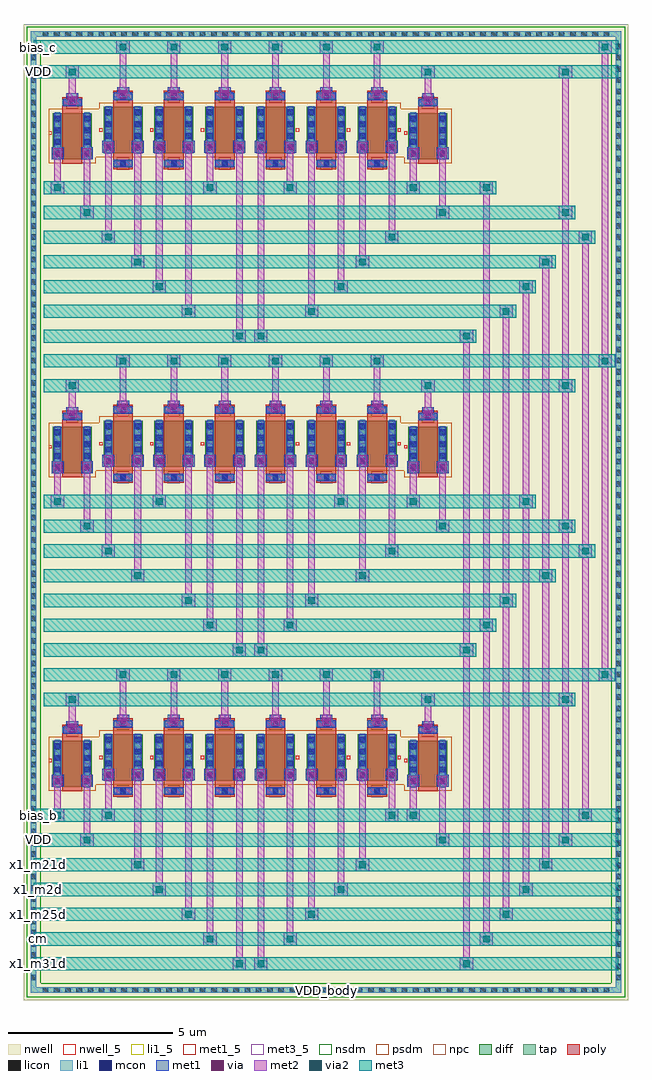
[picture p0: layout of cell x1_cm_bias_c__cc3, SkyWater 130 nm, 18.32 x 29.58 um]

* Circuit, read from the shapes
.subckt x1_cm_bias_c__cc3 VDD VDD_body bias_b bias_c cm x1_m21d x1_m25d x1_m2d x1_m31d
XM1 VDD VDD bias_b VDD_body sky130_fd_pr__pfet_01v8 w=1.4 l=0.6 m=2
XM2 VDD VDD x1_m2d VDD_body sky130_fd_pr__pfet_01v8 w=1.4 l=0.6 m=2
XM3 VDD VDD cm VDD_body sky130_fd_pr__pfet_01v8 w=1.4 l=0.6 m=2
XM4 x1_m21d bias_c bias_b VDD_body sky130_fd_pr__pfet_01v8 w=1.4 l=0.6 m=6
XM5 x1_m25d bias_c x1_m2d VDD_body sky130_fd_pr__pfet_01v8 w=1.4 l=0.6 m=6
XM6 x1_m31d bias_c cm VDD_body sky130_fd_pr__pfet_01v8 w=1.4 l=0.6 m=6
.ends

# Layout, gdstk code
from math import pi, radians
import gdstk
lib = gdstk.Library(unit=1e-6, precision=1e-09)
def R(c, l, rs):  # rectangles x0, y0, x1, y1
    for r in rs: c.add(gdstk.rectangle(r[:2], r[2:], *l))
def A(c, l, x, y, w, h, nx, ny, dx, dy):  # array of equal rectangles
    R(c, l, [(x+i*dx, y+j*dy, x+i*dx+w, y+j*dy+h) for i in range(nx) for j in range(ny)])
nwell_5 = (64, 5)
nwell = (64, 20)
diff = (65, 20)
tap = (65, 44)
poly = (66, 20)
licon = (66, 44)
li1_5 = (67, 5)
li1 = (67, 20)
mcon = (67, 44)
met1_5 = (68, 5)
met1 = (68, 20)
via = (68, 44)
met2 = (69, 20)
via2 = (69, 44)
met3_5 = (70, 5)
met3 = (70, 20)
nsdm = (93, 44)
psdm = (94, 20)
npc = (95, 20)

sky130_fd_pr__pfet_01v8_ = lib.new_cell('sky130_fd_pr__pfet_01v8_7A4LUF')
R(sky130_fd_pr__pfet_01v8_, nwell, [(-0.77,-1.19,0.77,1.02)])
R(sky130_fd_pr__pfet_01v8_, diff, [(-0.59,-0.88,0.59,0.52)])
R(sky130_fd_pr__pfet_01v8_, poly, [(-0.3,-1.01,0.3,1.005)])
A(sky130_fd_pr__pfet_01v8_, licon, -0.53, -0.775, 0.17, 0.17, 1, 4, 0, 0.34)
A(sky130_fd_pr__pfet_01v8_, licon, 0.36, -0.775, 0.17, 0.17, 1, 4, 0, 0.34)
R(sky130_fd_pr__pfet_01v8_, licon, [(-0.085,0.755,0.085,0.925)])
R(sky130_fd_pr__pfet_01v8_, li1, [(-0.53,-0.9,-0.36,0.54), (0.36,-0.9,0.53,0.54), (-0.3,0.755,0.3,0.925)])
A(sky130_fd_pr__pfet_01v8_, mcon, -0.53, -0.805, 0.17, 0.17, 1, 4, 0, 0.36)
A(sky130_fd_pr__pfet_01v8_, mcon, 0.36, -0.805, 0.17, 0.17, 1, 4, 0, 0.36)
R(sky130_fd_pr__pfet_01v8_, mcon, [(-0.085,0.755,0.085,0.925)])
R(sky130_fd_pr__pfet_01v8_, met1, [(-0.56,-0.88,-0.33,0.52), (0.33,-0.88,0.56,0.52), (-0.28,0.725,0.28,0.955)])
R(sky130_fd_pr__pfet_01v8_, psdm, [(-0.715,-1.005,0.715,0.645)])
R(sky130_fd_pr__pfet_01v8_, npc, [(-0.185,0.655,0.185,1.025)])
sky130_fd_pr__pfet_01v8_.add(gdstk.Label('D', (-0.445,-0.18), layer=67, texttype=5))
sky130_fd_pr__pfet_01v8_.add(gdstk.Label('S', (0.445,-0.18), layer=67, texttype=5))
sky130_fd_pr__pfet_01v8_.add(gdstk.Label('G', (0,0.84), layer=67, texttype=5))

pfet_01v8_w1p4_l0p6_m2__ = lib.new_cell('pfet_01v8_W1p4_L0p6_m2__nf1_gtop_sdfull_ng')
R(pfet_01v8_w1p4_l0p6_m2__, nwell_5, [(0.05,1.055,0.15,1.155)])
R(pfet_01v8_w1p4_l0p6_m2__, nwell, [(0.05,1.055,0.15,1.155)])
R(pfet_01v8_w1p4_l0p6_m2__, met1_5, [(0.21,1.01,0.44,1.21), (1.1,1.01,1.33,1.21), (0.49,1.915,1.05,2.145)])
R(pfet_01v8_w1p4_l0p6_m2__, met1, [(0.21,1.01,0.44,1.21), (1.1,1.01,1.33,1.21), (0.49,1.915,1.05,2.145)])
pfet_01v8_w1p4_l0p6_m2__.add(gdstk.Reference(sky130_fd_pr__pfet_01v8_, (0.77,1.19)))
pfet_01v8_w1p4_l0p6_m2__.add(gdstk.Label('D', (0.325,1.11), layer=68, texttype=5))
pfet_01v8_w1p4_l0p6_m2__.add(gdstk.Label('S', (1.215,1.11), layer=68, texttype=5))
pfet_01v8_w1p4_l0p6_m2__.add(gdstk.Label('G', (0.77,2.03), layer=68, texttype=5))
pfet_01v8_w1p4_l0p6_m2__.add(gdstk.Label('B', (0.1,1.105), layer=64, texttype=5))

c_sky130_fd_pr__pfet_01v8_ = lib.new_cell('sky130_fd_pr__pfet_01v8_RGDEC8')
R(c_sky130_fd_pr__pfet_01v8_, nwell, [(-0.77,-1.2,0.77,1.2)])
R(c_sky130_fd_pr__pfet_01v8_, diff, [(-0.59,-0.7,0.59,0.7)])
R(c_sky130_fd_pr__pfet_01v8_, poly, [(-0.3,-1.185,0.3,1.185)])
A(c_sky130_fd_pr__pfet_01v8_, licon, -0.53, -0.595, 0.17, 0.17, 1, 4, 0, 0.34)
A(c_sky130_fd_pr__pfet_01v8_, licon, 0.36, -0.595, 0.17, 0.17, 1, 4, 0, 0.34)
R(c_sky130_fd_pr__pfet_01v8_, licon, [(-0.085,-1.105,0.085,-0.935), (-0.085,0.935,0.085,1.105)])
R(c_sky130_fd_pr__pfet_01v8_, li1, [(-0.3,-1.105,0.3,-0.935), (-0.53,-0.72,-0.36,0.72), (0.36,-0.72,0.53,0.72), (-0.3,0.935,0.3,1.105)])
A(c_sky130_fd_pr__pfet_01v8_, mcon, -0.53, -0.625, 0.17, 0.17, 1, 4, 0, 0.36)
A(c_sky130_fd_pr__pfet_01v8_, mcon, 0.36, -0.625, 0.17, 0.17, 1, 4, 0, 0.36)
R(c_sky130_fd_pr__pfet_01v8_, mcon, [(-0.085,-1.105,0.085,-0.935), (-0.085,0.935,0.085,1.105)])
R(c_sky130_fd_pr__pfet_01v8_, met1, [(-0.28,-1.135,0.28,-0.905), (-0.56,-0.7,-0.33,0.7), (0.33,-0.7,0.56,0.7), (-0.28,0.905,0.28,1.135)])
R(c_sky130_fd_pr__pfet_01v8_, psdm, [(-0.715,-0.825,0.715,0.825)])
R(c_sky130_fd_pr__pfet_01v8_, npc, [(-0.185,-1.205,0.185,-0.835), (-0.185,0.835,0.185,1.205)])
c_sky130_fd_pr__pfet_01v8_.add(gdstk.Label('D', (-0.445,0), layer=67, texttype=5))
c_sky130_fd_pr__pfet_01v8_.add(gdstk.Label('S', (0.445,0), layer=67, texttype=5))
c_sky130_fd_pr__pfet_01v8_.add(gdstk.Label('G', (0,1.02), layer=67, texttype=5))

pfet_01v8_w1p4_l0p6_m6__ = lib.new_cell('pfet_01v8_W1p4_L0p6_m6__nf1_gboth_sdfull_ng')
R(pfet_01v8_w1p4_l0p6_m6__, nwell_5, [(0.05,1.15,0.15,1.25)])
R(pfet_01v8_w1p4_l0p6_m6__, nwell, [(0.05,1.15,0.15,1.25)])
R(pfet_01v8_w1p4_l0p6_m6__, met1_5, [(0.21,1.2,0.44,1.4), (1.1,1.2,1.33,1.4), (0.49,2.105,1.05,2.335)])
R(pfet_01v8_w1p4_l0p6_m6__, met1, [(0.21,1.2,0.44,1.4), (1.1,1.2,1.33,1.4), (0.49,2.105,1.05,2.335)])
pfet_01v8_w1p4_l0p6_m6__.add(gdstk.Reference(c_sky130_fd_pr__pfet_01v8_, (0.77,1.2)))
pfet_01v8_w1p4_l0p6_m6__.add(gdstk.Label('D', (0.325,1.3), layer=68, texttype=5))
pfet_01v8_w1p4_l0p6_m6__.add(gdstk.Label('S', (1.215,1.3), layer=68, texttype=5))
pfet_01v8_w1p4_l0p6_m6__.add(gdstk.Label('G', (0.77,2.22), layer=68, texttype=5))
pfet_01v8_w1p4_l0p6_m6__.add(gdstk.Label('B', (0.1,1.2), layer=64, texttype=5))

x1_cm_bias_c__cc3 = lib.new_cell('x1_cm_bias_c__cc3')
R(x1_cm_bias_c__cc3, nwell, [(-0.7,-6.15,17.62,23.43)])
R(x1_cm_bias_c__cc3, tap, [(-0.485,-5.935,17.405,-5.765), (-0.485,-5.765,-0.315,23.045), (17.235,-5.765,17.405,23.045), (-0.485,23.045,17.405,23.215)])
A(x1_cm_bias_c__cc3, licon, -0.125, -5.935, 0.17, 0.17, 51, 2, 0.34, 28.98)
A(x1_cm_bias_c__cc3, licon, -0.485, -5.555, 0.17, 0.17, 1, 84, 0, 0.34)
A(x1_cm_bias_c__cc3, licon, 17.235, -5.555, 0.17, 0.17, 1, 84, 0, 0.34)
R(x1_cm_bias_c__cc3, li1_5, [(8.41,-5.9,8.51,-5.8)])
R(x1_cm_bias_c__cc3, li1, [(-0.485,-5.935,17.405,-5.765), (-0.485,-5.765,-0.315,23.045), (17.235,-5.765,17.405,23.045), (-0.485,23.045,17.405,23.215)])
A(x1_cm_bias_c__cc3, met1, 0.145, 0.31, 0.36, 0.36, 1, 3, 0, 9.51)
A(x1_cm_bias_c__cc3, met1, 1.035, 0.31, 0.36, 0.36, 1, 3, 0, 9.51)
A(x1_cm_bias_c__cc3, met1, 10.925, 0.31, 0.36, 0.36, 1, 3, 0, 9.51)
A(x1_cm_bias_c__cc3, met1, 11.815, 0.31, 0.36, 0.36, 1, 3, 0, 9.51)
A(x1_cm_bias_c__cc3, met1, 1.685, 0.505, 0.36, 0.36, 1, 3, 0, 9.51)
A(x1_cm_bias_c__cc3, met1, 2.575, 0.505, 0.36, 0.36, 1, 3, 0, 9.51)
A(x1_cm_bias_c__cc3, met1, 3.225, 0.505, 0.36, 0.36, 1, 3, 0, 9.51)
A(x1_cm_bias_c__cc3, met1, 4.115, 0.505, 0.36, 0.36, 1, 3, 0, 9.51)
A(x1_cm_bias_c__cc3, met1, 4.765, 0.505, 0.36, 0.36, 1, 3, 0, 9.51)
A(x1_cm_bias_c__cc3, met1, 5.655, 0.505, 0.36, 0.36, 1, 3, 0, 9.51)
A(x1_cm_bias_c__cc3, met1, 6.305, 0.505, 0.36, 0.36, 1, 3, 0, 9.51)
A(x1_cm_bias_c__cc3, met1, 7.195, 0.505, 0.36, 0.36, 1, 3, 0, 9.51)
A(x1_cm_bias_c__cc3, met1, 7.845, 0.505, 0.36, 0.36, 1, 3, 0, 9.51)
A(x1_cm_bias_c__cc3, met1, 8.735, 0.505, 0.36, 0.36, 1, 3, 0, 9.51)
A(x1_cm_bias_c__cc3, met1, 9.385, 0.505, 0.36, 0.36, 1, 3, 0, 9.51)
A(x1_cm_bias_c__cc3, met1, 10.275, 0.505, 0.36, 0.36, 1, 3, 0, 9.51)
A(x1_cm_bias_c__cc3, met1, 0.59, 1.945, 0.36, 0.36, 1, 3, 0, 9.51)
A(x1_cm_bias_c__cc3, met1, 11.37, 1.945, 0.36, 0.36, 1, 3, 0, 9.51)
A(x1_cm_bias_c__cc3, met1, 2.13, 2.14, 0.36, 0.36, 6, 3, 1.54, 9.51)
A(x1_cm_bias_c__cc3, via, 0.25, 0.415, 0.15, 0.15, 1, 3, 0, 9.51)
A(x1_cm_bias_c__cc3, via, 1.14, 0.415, 0.15, 0.15, 1, 3, 0, 9.51)
A(x1_cm_bias_c__cc3, via, 11.03, 0.415, 0.15, 0.15, 1, 3, 0, 9.51)
A(x1_cm_bias_c__cc3, via, 11.92, 0.415, 0.15, 0.15, 1, 3, 0, 9.51)
A(x1_cm_bias_c__cc3, via, 1.79, 0.61, 0.15, 0.15, 1, 3, 0, 9.51)
A(x1_cm_bias_c__cc3, via, 2.68, 0.61, 0.15, 0.15, 1, 3, 0, 9.51)
A(x1_cm_bias_c__cc3, via, 3.33, 0.61, 0.15, 0.15, 1, 3, 0, 9.51)
A(x1_cm_bias_c__cc3, via, 4.22, 0.61, 0.15, 0.15, 1, 3, 0, 9.51)
A(x1_cm_bias_c__cc3, via, 4.87, 0.61, 0.15, 0.15, 1, 3, 0, 9.51)
A(x1_cm_bias_c__cc3, via, 5.76, 0.61, 0.15, 0.15, 1, 3, 0, 9.51)
A(x1_cm_bias_c__cc3, via, 6.41, 0.61, 0.15, 0.15, 1, 3, 0, 9.51)
A(x1_cm_bias_c__cc3, via, 7.3, 0.61, 0.15, 0.15, 1, 3, 0, 9.51)
A(x1_cm_bias_c__cc3, via, 7.95, 0.61, 0.15, 0.15, 1, 3, 0, 9.51)
A(x1_cm_bias_c__cc3, via, 8.84, 0.61, 0.15, 0.15, 1, 3, 0, 9.51)
A(x1_cm_bias_c__cc3, via, 9.49, 0.61, 0.15, 0.15, 1, 3, 0, 9.51)
A(x1_cm_bias_c__cc3, via, 10.38, 0.61, 0.15, 0.15, 1, 3, 0, 9.51)
A(x1_cm_bias_c__cc3, via, 0.695, 2.05, 0.15, 0.15, 1, 3, 0, 9.51)
A(x1_cm_bias_c__cc3, via, 11.475, 2.05, 0.15, 0.15, 1, 3, 0, 9.51)
A(x1_cm_bias_c__cc3, via, 2.235, 2.245, 0.15, 0.15, 6, 3, 1.54, 9.51)
A(x1_cm_bias_c__cc3, met2, 5.635, -5.25, 0.4, 0.4, 1, 3, 0, 9.51)
A(x1_cm_bias_c__cc3, met2, 6.285, -5.25, 0.4, 0.4, 1, 3, 0, 9.51)
A(x1_cm_bias_c__cc3, met2, 12.52, -5.25, 0.4, 0.4, 1, 3, 0, 9.51)
A(x1_cm_bias_c__cc3, met2, 5.735, -4.85, 0.2, 5.375, 1, 3, 0, 9.51)
A(x1_cm_bias_c__cc3, met2, 6.385, -4.85, 0.2, 5.375, 1, 3, 0, 9.51)
A(x1_cm_bias_c__cc3, met2, 1.015, -1.5, 0.4, 0.4, 1, 3, 0, 9.51)
A(x1_cm_bias_c__cc3, met2, 11.795, -1.5, 0.4, 0.4, 1, 3, 0, 9.51)
A(x1_cm_bias_c__cc3, met2, 1.115, -1.1, 0.2, 1.43, 1, 3, 0, 9.51)
A(x1_cm_bias_c__cc3, met2, 11.895, -1.1, 0.2, 1.43, 1, 3, 0, 9.51)
A(x1_cm_bias_c__cc3, met2, 15.62, -1.1, 0.2, 3.86, 1, 3, 0, 9.51)
A(x1_cm_bias_c__cc3, met2, 0.125, -0.75, 0.4, 0.4, 1, 3, 0, 9.51)
A(x1_cm_bias_c__cc3, met2, 10.905, -0.75, 0.4, 0.4, 1, 3, 0, 9.51)
A(x1_cm_bias_c__cc3, met2, 0.225, -0.35, 0.2, 0.68, 1, 3, 0, 9.51)
A(x1_cm_bias_c__cc3, met2, 11.005, -0.35, 0.2, 0.68, 1, 3, 0, 9.51)
A(x1_cm_bias_c__cc3, met2, 0.195, 0.33, 0.26, 0.32, 1, 3, 0, 9.51)
A(x1_cm_bias_c__cc3, met2, 1.085, 0.33, 0.26, 0.32, 1, 3, 0, 9.51)
A(x1_cm_bias_c__cc3, met2, 10.975, 0.33, 0.26, 0.32, 1, 3, 0, 9.51)
A(x1_cm_bias_c__cc3, met2, 11.865, 0.33, 0.26, 0.32, 1, 3, 0, 9.51)
A(x1_cm_bias_c__cc3, met2, 1.735, 0.525, 0.26, 0.32, 1, 3, 0, 9.51)
A(x1_cm_bias_c__cc3, met2, 2.625, 0.525, 0.26, 0.32, 1, 3, 0, 9.51)
A(x1_cm_bias_c__cc3, met2, 3.275, 0.525, 0.26, 0.32, 1, 3, 0, 9.51)
A(x1_cm_bias_c__cc3, met2, 4.165, 0.525, 0.26, 0.32, 1, 3, 0, 9.51)
A(x1_cm_bias_c__cc3, met2, 4.815, 0.525, 0.26, 0.32, 1, 3, 0, 9.51)
A(x1_cm_bias_c__cc3, met2, 5.705, 0.525, 0.26, 0.32, 1, 3, 0, 9.51)
A(x1_cm_bias_c__cc3, met2, 6.355, 0.525, 0.26, 0.32, 1, 3, 0, 9.51)
A(x1_cm_bias_c__cc3, met2, 7.245, 0.525, 0.26, 0.32, 1, 3, 0, 9.51)
A(x1_cm_bias_c__cc3, met2, 7.895, 0.525, 0.26, 0.32, 1, 3, 0, 9.51)
A(x1_cm_bias_c__cc3, met2, 8.785, 0.525, 0.26, 0.32, 1, 3, 0, 9.51)
A(x1_cm_bias_c__cc3, met2, 9.435, 0.525, 0.26, 0.32, 1, 3, 0, 9.51)
A(x1_cm_bias_c__cc3, met2, 10.325, 0.525, 0.26, 0.32, 1, 3, 0, 9.51)
A(x1_cm_bias_c__cc3, met2, 0.64, 1.965, 0.26, 0.32, 1, 3, 0, 9.51)
A(x1_cm_bias_c__cc3, met2, 11.42, 1.965, 0.26, 0.32, 1, 3, 0, 9.51)
A(x1_cm_bias_c__cc3, met2, 2.18, 2.16, 0.26, 0.32, 6, 3, 1.54, 9.51)
A(x1_cm_bias_c__cc3, met2, 0.67, 2.285, 0.2, 0.475, 1, 3, 0, 9.51)
A(x1_cm_bias_c__cc3, met2, 11.45, 2.285, 0.2, 0.475, 1, 3, 0, 9.51)
A(x1_cm_bias_c__cc3, met2, 2.21, 2.48, 0.2, 1.03, 6, 3, 1.54, 9.51)
A(x1_cm_bias_c__cc3, met2, 0.57, 2.76, 0.4, 0.4, 1, 3, 0, 9.51)
A(x1_cm_bias_c__cc3, met2, 11.35, 2.76, 0.4, 0.4, 1, 3, 0, 9.51)
A(x1_cm_bias_c__cc3, met2, 2.11, 3.51, 0.4, 0.4, 6, 3, 1.54, 9.51)
A(x1_cm_bias_c__cc3, met2, 16.72, 3.51, 0.4, 0.4, 1, 3, 0, 9.51)
R(x1_cm_bias_c__cc3, met2, [(12.62,-4.85,12.82,4.26), (4.745,-4.5,5.145,-4.1), (7.175,-4.5,7.575,-4.1), (13.12,-4.5,13.52,-4.1), (4.845,-4.1,5.045,0.525), (7.275,-4.1,7.475,0.525), (13.22,-4.1,13.42,5.01), (4.095,-3.75,4.495,-3.35), (7.825,-3.75,8.225,-3.35), (13.72,-3.75,14.12,-3.35), (4.195,-3.35,4.395,0.525), (7.925,-3.35,8.125,0.525), (13.82,-3.35,14.02,5.76), (3.205,-3,3.605,-2.6), (8.715,-3,9.115,-2.6), (14.32,-3,14.72,-2.6), (3.305,-2.6,3.505,0.525), (8.815,-2.6,9.015,0.525), (14.42,-2.6,14.62,8.76), (2.555,-2.25,2.955,-1.85), (9.365,-2.25,9.765,-1.85), (14.92,-2.25,15.32,-1.85), (2.655,-1.85,2.855,0.525), (9.465,-1.85,9.665,0.525), (15.02,-1.85,15.22,6.51), (15.52,-1.5,15.92,-1.1), (1.665,-0.75,2.065,-0.35), (10.255,-0.75,10.655,-0.35), (16.12,-0.75,16.52,-0.35), (1.765,-0.35,1.965,0.525), (10.355,-0.35,10.555,0.525), (16.22,-0.35,16.42,7.26), (15.52,2.76,15.92,3.16), (15.62,3.16,15.82,8.01), (16.82,3.91,17.02,13.02), (12.62,4.66,12.82,13.77), (4.745,5.01,5.145,5.41), (7.175,5.01,7.575,5.41), (13.12,5.01,13.52,5.41), (4.845,5.41,5.045,10.035), (7.275,5.41,7.475,10.035), (13.22,5.41,13.42,18.27), (4.095,5.76,4.495,6.16), (7.825,5.76,8.225,6.16), (13.72,5.76,14.12,6.16), (4.195,6.16,4.395,10.035), (7.925,6.16,8.125,10.035), (13.82,6.16,14.02,14.52), (2.555,6.51,2.955,6.91), (9.365,6.51,9.765,6.91), (14.92,6.51,15.32,6.91), (2.655,6.91,2.855,10.035), (9.465,6.91,9.665,10.035), (15.02,6.91,15.22,16.02), (1.665,7.26,2.065,7.66), (10.255,7.26,10.655,7.66), (16.12,7.26,16.52,7.66), (1.765,7.66,1.965,10.035), (10.355,7.66,10.555,10.035), (16.22,7.66,16.42,16.77), (15.52,8.01,15.92,8.41), (3.205,8.76,3.605,9.16), (8.715,8.76,9.115,9.16), (14.32,8.76,14.72,9.16), (3.305,9.16,3.505,10.035), (8.815,9.16,9.015,10.035), (14.42,9.16,14.62,15.27), (15.52,12.27,15.92,12.67), (15.62,12.67,15.82,17.52), (16.82,13.42,17.02,22.53), (4.095,14.52,4.495,14.92), (7.825,14.52,8.225,14.92), (13.72,14.52,14.12,14.92), (4.195,14.92,4.395,19.545), (7.925,14.92,8.125,19.545), (3.205,15.27,3.605,15.67), (8.715,15.27,9.115,15.67), (14.32,15.27,14.72,15.67), (3.305,15.67,3.505,19.545), (8.815,15.67,9.015,19.545), (2.555,16.02,2.955,16.42), (9.365,16.02,9.765,16.42), (14.92,16.02,15.32,16.42), (2.655,16.42,2.855,19.545), (9.465,16.42,9.665,19.545), (1.665,16.77,2.065,17.17), (10.255,16.77,10.655,17.17), (16.12,16.77,16.52,17.17), (1.765,17.17,1.965,19.545), (10.355,17.17,10.555,19.545), (15.52,17.52,15.92,17.92), (4.745,18.27,5.145,18.67), (7.175,18.27,7.575,18.67), (13.12,18.27,13.52,18.67), (4.845,18.67,5.045,19.545), (7.275,18.67,7.475,19.545), (15.52,21.78,15.92,22.18)])
A(x1_cm_bias_c__cc3, via2, 5.735, -5.15, 0.2, 0.2, 1, 3, 0, 9.51)
A(x1_cm_bias_c__cc3, via2, 6.385, -5.15, 0.2, 0.2, 1, 3, 0, 9.51)
A(x1_cm_bias_c__cc3, via2, 12.62, -5.15, 0.2, 0.2, 1, 3, 0, 9.51)
A(x1_cm_bias_c__cc3, via2, 1.115, -1.4, 0.2, 0.2, 1, 3, 0, 9.51)
A(x1_cm_bias_c__cc3, via2, 11.895, -1.4, 0.2, 0.2, 1, 3, 0, 9.51)
A(x1_cm_bias_c__cc3, via2, 0.225, -0.65, 0.2, 0.2, 1, 3, 0, 9.51)
A(x1_cm_bias_c__cc3, via2, 11.005, -0.65, 0.2, 0.2, 1, 3, 0, 9.51)
A(x1_cm_bias_c__cc3, via2, 0.67, 2.86, 0.2, 0.2, 1, 3, 0, 9.51)
A(x1_cm_bias_c__cc3, via2, 11.45, 2.86, 0.2, 0.2, 1, 3, 0, 9.51)
A(x1_cm_bias_c__cc3, via2, 2.21, 3.61, 0.2, 0.2, 6, 3, 1.54, 9.51)
A(x1_cm_bias_c__cc3, via2, 16.82, 3.61, 0.2, 0.2, 1, 3, 0, 9.51)
R(x1_cm_bias_c__cc3, via2, [(4.845,-4.4,5.045,-4.2), (7.275,-4.4,7.475,-4.2), (13.22,-4.4,13.42,-4.2), (4.195,-3.65,4.395,-3.45), (7.925,-3.65,8.125,-3.45), (13.82,-3.65,14.02,-3.45), (3.305,-2.9,3.505,-2.7), (8.815,-2.9,9.015,-2.7), (14.42,-2.9,14.62,-2.7), (2.655,-2.15,2.855,-1.95), (9.465,-2.15,9.665,-1.95), (15.02,-2.15,15.22,-1.95), (15.62,-1.4,15.82,-1.2), (1.765,-0.65,1.965,-0.45), (10.355,-0.65,10.555,-0.45), (16.22,-0.65,16.42,-0.45), (15.62,2.86,15.82,3.06), (4.845,5.11,5.045,5.31), (7.275,5.11,7.475,5.31), (13.22,5.11,13.42,5.31), (4.195,5.86,4.395,6.06), (7.925,5.86,8.125,6.06), (13.82,5.86,14.02,6.06), (2.655,6.61,2.855,6.81), (9.465,6.61,9.665,6.81), (15.02,6.61,15.22,6.81), (1.765,7.36,1.965,7.56), (10.355,7.36,10.555,7.56), (16.22,7.36,16.42,7.56), (15.62,8.11,15.82,8.31), (3.305,8.86,3.505,9.06), (8.815,8.86,9.015,9.06), (14.42,8.86,14.62,9.06), (15.62,12.37,15.82,12.57), (4.195,14.62,4.395,14.82), (7.925,14.62,8.125,14.82), (13.82,14.62,14.02,14.82), (3.305,15.37,3.505,15.57), (8.815,15.37,9.015,15.57), (14.42,15.37,14.62,15.57), (2.655,16.12,2.855,16.32), (9.465,16.12,9.665,16.32), (15.02,16.12,15.22,16.32), (1.765,16.87,1.965,17.07), (10.355,16.87,10.555,17.07), (16.22,16.87,16.42,17.07), (15.62,17.62,15.82,17.82), (4.845,18.37,5.045,18.57), (7.275,18.37,7.475,18.57), (13.22,18.37,13.42,18.57), (15.62,21.88,15.82,22.08)])
A(x1_cm_bias_c__cc3, met3_5, -0.3, -5.1, 0.1, 0.1, 1, 7, 0, 0.75)
R(x1_cm_bias_c__cc3, met3_5, [(-0.3,21.93,-0.2,22.03), (-0.3,22.68,-0.2,22.78)])
A(x1_cm_bias_c__cc3, met3, -0.4, -5.25, 17.72, 0.4, 1, 7, 0, 0.75)
R(x1_cm_bias_c__cc3, met3, [(-0.1,2.76,16.02,3.16), (-0.1,3.51,17.22,3.91), (-0.1,4.26,13.02,4.66), (-0.1,5.01,13.62,5.41), (-0.1,5.76,14.22,6.16), (-0.1,6.51,15.42,6.91), (-0.1,7.26,16.62,7.66), (-0.1,8.01,16.02,8.41), (-0.1,8.76,14.82,9.16), (-0.1,12.27,16.02,12.67), (-0.1,13.02,17.22,13.42), (-0.1,13.77,13.02,14.17), (-0.1,14.52,14.22,14.92), (-0.1,15.27,14.82,15.67), (-0.1,16.02,15.42,16.42), (-0.1,16.77,16.62,17.17), (-0.1,17.52,16.02,17.92), (-0.1,18.27,13.62,18.67), (-0.4,21.78,17.32,22.18), (-0.4,22.53,17.32,22.93)])
R(x1_cm_bias_c__cc3, nsdm, [(-0.61,-6.06,17.53,-5.64), (-0.61,-5.64,-0.19,22.92), (17.11,-5.64,17.53,22.92), (-0.61,22.92,17.53,23.34)])
A(x1_cm_bias_c__cc3, psdm, 1.485, 0.375, 0.11, 1.46, 1, 3, 0, 9.51)
A(x1_cm_bias_c__cc3, psdm, 3.025, 0.375, 0.11, 1.65, 5, 3, 1.54, 9.51)
A(x1_cm_bias_c__cc3, psdm, 10.725, 0.375, 0.11, 1.46, 1, 3, 0, 9.51)
x1_cm_bias_c__cc3.add(gdstk.Reference(pfet_01v8_w1p4_l0p6_m2__, (10.78,19.02)))
x1_cm_bias_c__cc3.add(gdstk.Reference(pfet_01v8_w1p4_l0p6_m6__, (10.78,19.02), rotation=pi, x_reflection=True))
x1_cm_bias_c__cc3.add(gdstk.Reference(pfet_01v8_w1p4_l0p6_m6__, (9.24,19.02), rotation=pi, x_reflection=True))
x1_cm_bias_c__cc3.add(gdstk.Reference(pfet_01v8_w1p4_l0p6_m6__, (7.7,19.02), rotation=pi, x_reflection=True))
x1_cm_bias_c__cc3.add(gdstk.Reference(pfet_01v8_w1p4_l0p6_m6__, (4.62,19.02)))
x1_cm_bias_c__cc3.add(gdstk.Reference(pfet_01v8_w1p4_l0p6_m6__, (3.08,19.02)))
x1_cm_bias_c__cc3.add(gdstk.Reference(pfet_01v8_w1p4_l0p6_m6__, (1.54,19.02)))
x1_cm_bias_c__cc3.add(gdstk.Reference(pfet_01v8_w1p4_l0p6_m2__, (0,19.02)))
x1_cm_bias_c__cc3.add(gdstk.Reference(pfet_01v8_w1p4_l0p6_m2__, (10.78,9.51)))
x1_cm_bias_c__cc3.add(gdstk.Reference(pfet_01v8_w1p4_l0p6_m6__, (10.78,9.51), rotation=pi, x_reflection=True))
x1_cm_bias_c__cc3.add(gdstk.Reference(pfet_01v8_w1p4_l0p6_m6__, (9.24,9.51), rotation=pi, x_reflection=True))
x1_cm_bias_c__cc3.add(gdstk.Reference(pfet_01v8_w1p4_l0p6_m6__, (7.7,9.51), rotation=pi, x_reflection=True))
x1_cm_bias_c__cc3.add(gdstk.Reference(pfet_01v8_w1p4_l0p6_m6__, (4.62,9.51)))
x1_cm_bias_c__cc3.add(gdstk.Reference(pfet_01v8_w1p4_l0p6_m6__, (3.08,9.51)))
x1_cm_bias_c__cc3.add(gdstk.Reference(pfet_01v8_w1p4_l0p6_m6__, (1.54,9.51)))
x1_cm_bias_c__cc3.add(gdstk.Reference(pfet_01v8_w1p4_l0p6_m2__, (0,9.51)))
x1_cm_bias_c__cc3.add(gdstk.Reference(pfet_01v8_w1p4_l0p6_m2__, (10.78,0)))
x1_cm_bias_c__cc3.add(gdstk.Reference(pfet_01v8_w1p4_l0p6_m6__, (10.78,0), rotation=pi, x_reflection=True))
x1_cm_bias_c__cc3.add(gdstk.Reference(pfet_01v8_w1p4_l0p6_m6__, (9.24,0), rotation=pi, x_reflection=True))
x1_cm_bias_c__cc3.add(gdstk.Reference(pfet_01v8_w1p4_l0p6_m6__, (7.7,0), rotation=pi, x_reflection=True))
x1_cm_bias_c__cc3.add(gdstk.Reference(pfet_01v8_w1p4_l0p6_m6__, (4.62,0)))
x1_cm_bias_c__cc3.add(gdstk.Reference(pfet_01v8_w1p4_l0p6_m6__, (3.08,0)))
x1_cm_bias_c__cc3.add(gdstk.Reference(pfet_01v8_w1p4_l0p6_m6__, (1.54,0)))
x1_cm_bias_c__cc3.add(gdstk.Reference(pfet_01v8_w1p4_l0p6_m2__, (0,0)))
x1_cm_bias_c__cc3.add(gdstk.Label('VDD', (-0.25,21.98), layer=70, texttype=5))
x1_cm_bias_c__cc3.add(gdstk.Label('bias_c', (-0.25,22.73), layer=70, texttype=5))
x1_cm_bias_c__cc3.add(gdstk.Label('bias_b', (-0.25,-0.55), layer=70, texttype=5))
x1_cm_bias_c__cc3.add(gdstk.Label('VDD', (-0.25,-1.3), layer=70, texttype=5))
x1_cm_bias_c__cc3.add(gdstk.Label('x1_m21d', (-0.25,-2.05), layer=70, texttype=5))
x1_cm_bias_c__cc3.add(gdstk.Label('x1_m2d', (-0.25,-2.8), layer=70, texttype=5))
x1_cm_bias_c__cc3.add(gdstk.Label('x1_m25d', (-0.25,-3.55), layer=70, texttype=5))
x1_cm_bias_c__cc3.add(gdstk.Label('cm', (-0.25,-4.3), layer=70, texttype=5))
x1_cm_bias_c__cc3.add(gdstk.Label('x1_m31d', (-0.25,-5.05), layer=70, texttype=5))
x1_cm_bias_c__cc3.add(gdstk.Label('VDD_body', (8.46,-5.85), layer=67, texttype=5))

lib.write_gds('x1_cm_bias_c__cc3.gds')
